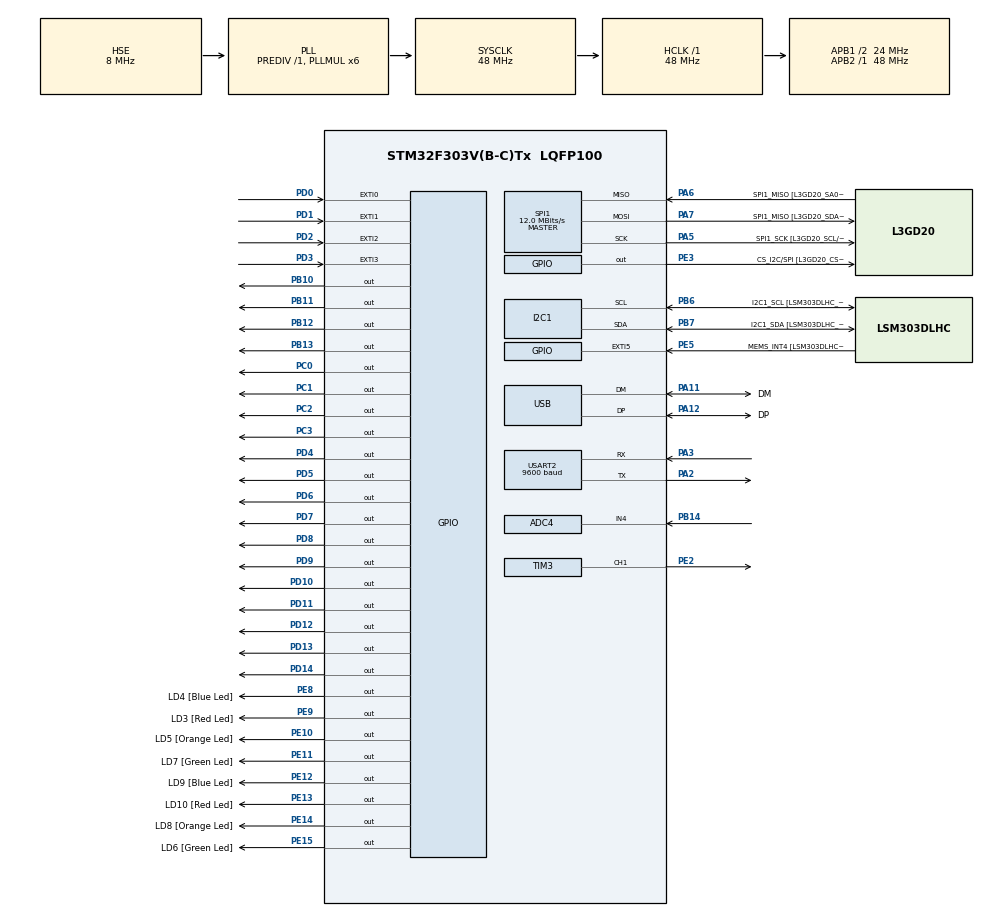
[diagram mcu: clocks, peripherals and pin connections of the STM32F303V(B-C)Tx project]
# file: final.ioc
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ADC4.Channel-0\#ChannelRegularConversion=ADC_CHANNEL_4
ADC4.NbrOfConversionFlag=1
ADC4.Offset-0\#ChannelRegularConversion=0
ADC4.OffsetNumber-0\#ChannelRegularConversion=ADC_OFFSET_NONE
ADC4.Rank-0\#ChannelRegularConversion=1
ADC4.SamplingTime-0\#ChannelRegularConversion=ADC_SAMPLETIME_1CYCLE_5
ADC4.SamplingTimeOPAMP-0\#ChannelRegularConversion=ADC_SAMPLETIME_19CYCLES_5
I2C1.Timing-I2C=0x2000090E
Mcu.Family=STM32F3
Mcu.Name=STM32F303V(B-C)Tx
Mcu.Package=LQFP100
NVIC.ADC4_IRQn=true\:0\:0\:true\:false\:true\:true\:true
NVIC.EXTI0_IRQn=true\:1\:0\:true\:false\:true\:true\:true
NVIC.EXTI1_IRQn=true\:1\:0\:true\:false\:true\:true\:true
NVIC.EXTI2_TSC_IRQn=true\:1\:0\:true\:false\:true\:true\:true
NVIC.EXTI3_IRQn=true\:1\:0\:true\:false\:true\:true\:true
NVIC.PriorityGroup=NVIC_PRIORITYGROUP_2
NVIC.TIM2_IRQn=true\:2\:0\:true\:false\:true\:true\:true
NVIC.TIM3_IRQn=true\:2\:0\:true\:false\:true\:true\:true
NVIC.TIM6_DAC_IRQn=true\:1\:0\:true\:false\:true\:true\:true
NVIC.TIM7_IRQn=true\:1\:0\:true\:false\:true\:true\:true
NVIC.USART2_IRQn=true\:1\:0\:true\:false\:true\:true\:true
PA11.GPIO_Label=DM
PA11.Mode=Device
PA11.Signal=USB_DM
PA12.GPIO_Label=DP
PA12.Mode=Device
PA12.Signal=USB_DP
PA13.GPIO_Label=SWDIO
PA13.Mode=Serial_Wire
PA13.Signal=SYS_JTMS-SWDIO
PA14.GPIO_Label=SWCLK
PA14.Mode=Serial_Wire
PA14.Signal=SYS_JTCK-SWCLK
PA2.Mode=Asynchronous
PA2.Signal=USART2_TX
PA3.Mode=Asynchronous
PA3.Signal=USART2_RX
PA5.GPIO_Label=SPI1_SCK [L3GD20_SCL/SPC]
PA5.Mode=Full_Duplex_Master
PA5.Signal=SPI1_SCK
PA6.GPIO_Label=SPI1_MISO [L3GD20_SA0/SDO]
PA6.Mode=Full_Duplex_Master
PA6.Signal=SPI1_MISO
PA7.GPIO_Label=SPI1_MISO [L3GD20_SDA/SDI/SDO]
PA7.Mode=Full_Duplex_Master
PA7.Signal=SPI1_MOSI
PB10.Signal=GPIO_Output
PB11.Signal=GPIO_Output
PB12.Signal=GPIO_Output
PB13.Signal=GPIO_Output
PB14.Mode=IN4-Single-Ended
PB14.Signal=ADC4_IN4
PB3.GPIO_Label=SWO
PB3.Signal=SYS_JTDO-TRACESWO
PB6.GPIO_Label=I2C1_SCL [LSM303DLHC_SCL]
PB6.GPIO_Pu=GPIO_PULLUP
PB6.Mode=I2C
PB6.Signal=I2C1_SCL
PB7.GPIO_Label=I2C1_SDA [LSM303DLHC_SDA]
PB7.GPIO_Pu=GPIO_PULLUP
PB7.Mode=I2C
PB7.Signal=I2C1_SDA
PC0.Signal=GPIO_Output
PC1.Signal=GPIO_Output
PC14-OSC32_IN.GPIO_Label=OSC32_IN
PC14-OSC32_IN.Signal=RCC_OSC32_IN
PC15-OSC32_OUT.GPIO_Label=OSC32_OUT
PC15-OSC32_OUT.Signal=RCC_OSC32_OUT
PC2.Signal=GPIO_Output
PC3.Signal=GPIO_Output
PD0.GPIO_PuPd=GPIO_PULLDOWN
PD0.Signal=GPXTI0
PD1.GPIO_PuPd=GPIO_PULLDOWN
PD1.Signal=GPXTI1
PD10.Signal=GPIO_Output
PD11.Signal=GPIO_Output
PD12.Signal=GPIO_Output
PD13.Signal=GPIO_Output
PD14.Signal=GPIO_Output
PD2.GPIO_PuPd=GPIO_PULLDOWN
PD2.Signal=GPXTI2
PD3.GPIO_PuPd=GPIO_PULLDOWN
PD3.Signal=GPXTI3
PD4.Signal=GPIO_Output
PD5.Signal=GPIO_Output
PD6.Signal=GPIO_Output
PD7.Signal=GPIO_Output
PD8.Signal=GPIO_Output
PD9.Signal=GPIO_Output
PE10.GPIO_Label=LD5 [Orange Led]
PE10.Signal=GPIO_Output
PE11.GPIO_Label=LD7 [Green Led]
PE11.Signal=GPIO_Output
PE12.GPIO_Label=LD9 [Blue Led]
PE12.Signal=GPIO_Output
PE13.GPIO_Label=LD10 [Red Led]
PE13.Signal=GPIO_Output
PE14.GPIO_Label=LD8 [Orange Led]
PE14.Signal=GPIO_Output
PE15.GPIO_Label=LD6 [Green Led]
PE15.Signal=GPIO_Output
PE2.Signal=S_TIM3_CH1
PE3.GPIO_Label=CS_I2C/SPI [L3GD20_CS_I2C/SPI]
PE3.Signal=GPIO_Output
PE5.GPIO_Label=MEMS_INT4 [LSM303DLHC_INT2]
PE5.GPIO_ModeDefaultEXTI=GPIO_MODE_EVT_RISING
PE5.Signal=GPXTI5
PE8.GPIO_Label=LD4 [Blue Led]
PE8.Signal=GPIO_Output
PE9.GPIO_Label=LD3 [Red Led]
PE9.Signal=GPIO_Output
PF0-OSC_IN.GPIO_Label=OSC_IN
PF0-OSC_IN.Mode=HSE-External-Clock-Source
PF0-OSC_IN.Signal=RCC_OSC_IN
PF1-OSC_OUT.GPIO_Label=OSC_OUT
PF1-OSC_OUT.Signal=RCC_OSC_OUT
ProjectManager.HeapSize=0x200
ProjectManager.StackSize=0x400
ProjectManager.TargetToolchain=STM32CubeIDE
RCC.AHBFreq_Value=48000000
RCC.APB1CLKDivider=RCC_HCLK_DIV2
RCC.APB1Freq_Value=24000000
RCC.APB1TimFreq_Value=48000000
RCC.APB2Freq_Value=48000000
RCC.APB2TimFreq_Value=48000000
RCC.CortexFreq_Value=48000000
RCC.HCLKFreq_Value=48000000
RCC.HSE_VALUE=8000000
RCC.HSI_VALUE=8000000
RCC.LSE_VALUE=32768
RCC.PLLMUL=RCC_PLL_MUL6
RCC.SYSCLKFreq_VALUE=48000000
RCC.SYSCLKSourceVirtual=RCC_SYSCLKSOURCE_PLLCLK
RCC.USBFreq_Value=48000000
RTC.AsynchPrediv=39
RTC.SynchPrediv=999
SH.S_TIM3_CH1.0=TIM3_CH1,PWM Generation1 CH1
SPI1.BaudRatePrescaler=SPI_BAUDRATEPRESCALER_4
SPI1.BaudRatePrescaler-Full_Duplex_Master=SPI_BAUDRATEPRESCALER_2
SPI1.CalculateBaudRate=12.0 MBits/s
SPI1.CalculateBaudRate-Full_Duplex_Master=24.0 MBits/s
SPI1.Direction=SPI_DIRECTION_2LINES
SPI1.Mode=SPI_MODE_MASTER
SPI1.Mode-Full_Duplex_Master=SPI_MODE_MASTER
SPI1.VirtualType=VM_MASTER
TIM2.Period=10000
TIM2.Prescaler=2399
TIM3.Channel-PWM\ Generation1\ CH1=TIM_CHANNEL_1
TIM3.Period=100
TIM3.Prescaler=72
TIM6.Period=10
TIM6.Prescaler=4799
TIM7.Period=20
TIM7.Prescaler=2399
USART2.BaudRate=9600
USART2.VirtualMode-Asynchronous=VM_ASYNC
VP_RTC_VS_RTC_Activate.Mode=RTC_Enabled
VP_RTC_VS_RTC_Calendar.Mode=RTC_Calendar
VP_TIM2_VS_ClockSourceINT.Mode=Internal
VP_TIM3_VS_ClockSourceINT.Mode=Internal
VP_TIM6_VS_ClockSourceINT.Mode=Enable_Timer
VP_TIM7_VS_ClockSourceINT.Mode=Enable_Timer
board=STM32F3DISCOVERY

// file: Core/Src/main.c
/* USER CODE BEGIN Header */
/**
  ******************************************************************************
  * @file           : main.c
  * @brief          : Main program body
  ******************************************************************************
  * @attention
  *
  * Copyright (c) 2022 STMicroelectronics.
  * All rights reserved.
  *
  * This software is licensed under terms that can be found in the LICENSE file
  * in the root directory of this software component.
  * If no LICENSE file comes with this software, it is provided AS-IS.
  *
  ******************************************************************************
  */
/* USER CODE END Header */
#include "main.h"

/* USER CODE BEGIN Includes */
#include "LiquidCrystal.h"
/* USER CODE END Includes */

ADC_HandleTypeDef hadc4;

I2C_HandleTypeDef hi2c1;

RTC_HandleTypeDef hrtc;

SPI_HandleTypeDef hspi1;

TIM_HandleTypeDef htim2;
TIM_HandleTypeDef htim3;
TIM_HandleTypeDef htim6;
TIM_HandleTypeDef htim7;

UART_HandleTypeDef huart2;

PCD_HandleTypeDef hpcd_USB_FS;

/* USER CODE BEGIN PV */

char menuState;

/* USER CODE END PV */

void SystemClock_Config(void);
static void MX_GPIO_Init(void);
static void MX_I2C1_Init(void);
static void MX_SPI1_Init(void);
static void MX_USB_PCD_Init(void);
static void MX_TIM2_Init(void);
static void MX_USART2_UART_Init(void);
static void MX_TIM7_Init(void);
static void MX_ADC4_Init(void);
static void MX_TIM3_Init(void);
static void MX_RTC_Init(void);
static void MX_TIM6_Init(void);

/* USER CODE BEGIN 0 */

};

byte step[] = {
  0x03,
  0x03,
  0x03,
  0x03,
  0x03,
  0x03,
  0x03,
  0x03
};

byte enemy[] = {
  0x0E,
  0x1F,
  0x15,
  0x1F,
  0x1F,
  0x1B,
  0x1F,
  0x15
};

byte spring_booster[] = {
  0x15,
  0x15,
  0x1D,
  0x15,
  0x15,
  0x17,
  0x15,
  0x15
};

byte blackhole[] = {
  0x1F,
  0x1F,
  0x1B,
  0x11,
  0x11,
  0x1B,
  0x1F,
  0x1F
};

byte broken_step[] = {
  0x03,
  0x03,
  0x03,
  0x01,
  0x02,
  0x03,
  0x03,
  0x03
};

void init_state_vars() {
    /*
     * menusState:
     * 	'z' init page
     * 	'g' game page
     * 	'a' about us
     * */
	menuState = 'z';
}

/* USER CODE END 0 */

int main(void)
{

  /* MCU Configuration--------------------------------------------------------*/

  /* Reset of all peripherals, Initializes the Flash interface and the Systick. */
  HAL_Init();

  /* USER CODE BEGIN Init */

  init_state_vars();
  HAL_GPIO_WritePin(GPIOD, GPIO_PIN_4, 1);
  HAL_GPIO_WritePin(GPIOD, GPIO_PIN_5, 1);
  HAL_GPIO_WritePin(GPIOD, GPIO_PIN_6, 1);
  HAL_GPIO_WritePin(GPIOD, GPIO_PIN_7, 1);
  LiquidCrystal(GPIOD, GPIO_PIN_8, GPIO_PIN_9, GPIO_PIN_10, GPIO_PIN_11, GPIO_PIN_12, GPIO_PIN_13, GPIO_PIN_14);
  begin(20, 4);

	createChar(0, doodler);
	createChar(1, step);
	createChar(2, enemy);
	createChar(3, spring_booster);
	createChar(4, blackhole);
	createChar(5, broken_step);

  /* USER CODE END Init */

  /* Configure the system clock */
  SystemClock_Config();

  /* Initialize all configured peripherals */
  MX_GPIO_Init();
  MX_I2C1_Init();
  MX_SPI1_Init();
  MX_USB_PCD_Init();
  MX_TIM2_Init();
  MX_USART2_UART_Init();
  MX_TIM7_Init();
  MX_ADC4_Init();
  MX_TIM3_Init();
  MX_RTC_Init();
  MX_TIM6_Init();
  /* USER CODE BEGIN 2 */

  HAL_ADC_Start_IT(&hadc4);
  //HAL_TIM_PWM_Init(&htim3, TIM_CHANNEL_1);

  HAL_TIM_PWM_Start(&htim3, TIM_CHANNEL_1);
  //htim3.Instance->CCR1 = 220;

  unsigned char hello[8] = "hello \n";
  HAL_UART_Transmit(&huart2, hello, sizeof(hello), 500);
  HAL_TIM_Base_Start_IT(&htim2);
  HAL_TIM_Base_Start_IT(&htim6);
  HAL_TIM_Base_Start_IT(&htim3);
  HAL_TIM_Base_Start_IT(&htim7);

  RTC_TimeTypeDef mytime;
  mytime.Hours = 8;
  mytime.Minutes = 50;
  mytime.Seconds = 10;

  HAL_RTC_SetTime(&hrtc, &mytime, RTC_FORMAT_BIN);

  RTC_DateTypeDef mydate;
  mydate.Year = 22;
  mydate.Month = 7;
  mydate.Date = 3;

  HAL_RTC_SetDate(&hrtc, &mydate, RTC_FORMAT_BIN);

  char timeStr[20] = {' '};
  char dateStr[20] = {' '};

//  HAL_RTC_GetTime(&hrtc, &mytime, RTC_FORMAT_BIN);
//  HAL_RTC_GetDate(&hrtc, &mydate, RTC_FORMAT_BIN);
//
//
//  sprintf(timeStr, "\n %2d:%2d:%2d \n", mytime.Hours, mytime.Minutes, mytime.Seconds);
//  sprintf(dateStr, "\n %d//%d//%d \n", mydate.Year, mydate.Month, mydate.Date);

  /* USER CODE END 2 */

  /* Infinite loop */
  /* USER CODE BEGIN WHILE */
  int i = 0;
  while (1)
  {

	  HAL_RTC_GetTime(&hrtc, &mytime, RTC_FORMAT_BIN);
	  HAL_RTC_GetDate(&hrtc, &mydate, RTC_FORMAT_BIN);

	  sprintf(timeStr, "\t\t %2d:%2d:%2d\n", mytime.Hours, mytime.Minutes, mytime.Seconds);
	  sprintf(dateStr, "\t\t %d//%d//%d\n", mydate.Year, mydate.Month, mydate.Date);

	  HAL_UART_Transmit(&huart2, dateStr, sizeof(dateStr), 1000);
	  HAL_UART_Transmit(&huart2, timeStr, sizeof(timeStr), 1000);

	  HAL_Delay(1000);

    /* USER CODE END WHILE */

    /* USER CODE BEGIN 3 */
//	  __HAL_TIM_SET_COMPARE(&htim3, TIM_CHANNEL_1, i);
	  HAL_Delay(100);

//	  i = (i+1) % 100;

//	  HAL_GPIO_TogglePin(GPIOE, GPIO_PIN_10);
//	  HAL_Delay(1);
  }
  /* USER CODE END 3 */
}

void SystemClock_Config(void)
{
  RCC_OscInitTypeDef RCC_OscInitStruct = {0};
  RCC_ClkInitTypeDef RCC_ClkInitStruct = {0};
  RCC_PeriphCLKInitTypeDef PeriphClkInit = {0};

  /** Initializes the RCC Oscillators according to the specified parameters
  * in the RCC_OscInitTypeDef structure.
  */
  RCC_OscInitStruct.OscillatorType = RCC_OSCILLATORTYPE_HSI|RCC_OSCILLATORTYPE_LSI
                              |RCC_OSCILLATORTYPE_HSE;
  RCC_OscInitStruct.HSEState = RCC_HSE_BYPASS;
  RCC_OscInitStruct.HSEPredivValue = RCC_HSE_PREDIV_DIV1;
  RCC_OscInitStruct.HSIState = RCC_HSI_ON;
  RCC_OscInitStruct.HSICalibrationValue = RCC_HSICALIBRATION_DEFAULT;
  RCC_OscInitStruct.LSIState = RCC_LSI_ON;
  RCC_OscInitStruct.PLL.PLLState = RCC_PLL_ON;
  RCC_OscInitStruct.PLL.PLLSource = RCC_PLLSOURCE_HSE;
  RCC_OscInitStruct.PLL.PLLMUL = RCC_PLL_MUL6;
  if (HAL_RCC_OscConfig(&RCC_OscInitStruct) != HAL_OK)
  {
    Error_Handler();
  }
  /** Initializes the CPU, AHB and APB buses clocks
  */
  RCC_ClkInitStruct.ClockType = RCC_CLOCKTYPE_HCLK|RCC_CLOCKTYPE_SYSCLK
                              |RCC_CLOCKTYPE_PCLK1|RCC_CLOCKTYPE_PCLK2;
  RCC_ClkInitStruct.SYSCLKSource = RCC_SYSCLKSOURCE_PLLCLK;
  RCC_ClkInitStruct.AHBCLKDivider = RCC_SYSCLK_DIV1;
  RCC_ClkInitStruct.APB1CLKDivider = RCC_HCLK_DIV2;
  RCC_ClkInitStruct.APB2CLKDivider = RCC_HCLK_DIV1;

  if (HAL_RCC_ClockConfig(&RCC_ClkInitStruct, FLASH_LATENCY_1) != HAL_OK)
  {
    Error_Handler();
  }
  PeriphClkInit.PeriphClockSelection = RCC_PERIPHCLK_USB|RCC_PERIPHCLK_USART2
                              |RCC_PERIPHCLK_I2C1|RCC_PERIPHCLK_RTC
                              |RCC_PERIPHCLK_ADC34;
  PeriphClkInit.Usart2ClockSelection = RCC_USART2CLKSOURCE_PCLK1;
  PeriphClkInit.Adc34ClockSelection = RCC_ADC34PLLCLK_DIV1;
  PeriphClkInit.I2c1ClockSelection = RCC_I2C1CLKSOURCE_HSI;
  PeriphClkInit.RTCClockSelection = RCC_RTCCLKSOURCE_LSI;
  PeriphClkInit.USBClockSelection = RCC_USBCLKSOURCE_PLL;
  if (HAL_RCCEx_PeriphCLKConfig(&PeriphClkInit) != HAL_OK)
  {
    Error_Handler();
  }
}

static void MX_ADC4_Init(void)
{

  ADC_ChannelConfTypeDef sConfig = {0};

  /** Common config
  */
  hadc4.Instance = ADC4;
  hadc4.Init.ClockPrescaler = ADC_CLOCK_ASYNC_DIV1;
  hadc4.Init.Resolution = ADC_RESOLUTION_12B;
  hadc4.Init.ScanConvMode = ADC_SCAN_DISABLE;
  hadc4.Init.ContinuousConvMode = DISABLE;
  hadc4.Init.DiscontinuousConvMode = DISABLE;
  hadc4.Init.ExternalTrigConvEdge = ADC_EXTERNALTRIGCONVEDGE_NONE;
  hadc4.Init.ExternalTrigConv = ADC_SOFTWARE_START;
  hadc4.Init.DataAlign = ADC_DATAALIGN_RIGHT;
  hadc4.Init.NbrOfConversion = 1;
  hadc4.Init.DMAContinuousRequests = DISABLE;
  hadc4.Init.EOCSelection = ADC_EOC_SINGLE_CONV;
  hadc4.Init.LowPowerAutoWait = DISABLE;
  hadc4.Init.Overrun = ADC_OVR_DATA_OVERWRITTEN;
  if (HAL_ADC_Init(&hadc4) != HAL_OK)
  {
    Error_Handler();
  }
  /** Configure Regular Channel
  */
  sConfig.Channel = ADC_CHANNEL_4;
  sConfig.Rank = ADC_REGULAR_RANK_1;
  sConfig.SingleDiff = ADC_SINGLE_ENDED;
  sConfig.SamplingTime = ADC_SAMPLETIME_1CYCLE_5;
  sConfig.OffsetNumber = ADC_OFFSET_NONE;
  sConfig.Offset = 0;
  if (HAL_ADC_ConfigChannel(&hadc4, &sConfig) != HAL_OK)
  {
    Error_Handler();
  }

}

static void MX_I2C1_Init(void)
{

  hi2c1.Instance = I2C1;
  hi2c1.Init.Timing = 0x2000090E;
  hi2c1.Init.OwnAddress1 = 0;
  hi2c1.Init.AddressingMode = I2C_ADDRESSINGMODE_7BIT;
  hi2c1.Init.DualAddressMode = I2C_DUALADDRESS_DISABLE;
  hi2c1.Init.OwnAddress2 = 0;
  hi2c1.Init.OwnAddress2Masks = I2C_OA2_NOMASK;
  hi2c1.Init.GeneralCallMode = I2C_GENERALCALL_DISABLE;
  hi2c1.Init.NoStretchMode = I2C_NOSTRETCH_DISABLE;
  if (HAL_I2C_Init(&hi2c1) != HAL_OK)
  {
    Error_Handler();
  }
  /** Configure Analogue filter
  */
  if (HAL_I2CEx_ConfigAnalogFilter(&hi2c1, I2C_ANALOGFILTER_ENABLE) != HAL_OK)
  {
    Error_Handler();
  }
  /** Configure Digital filter
  */
  if (HAL_I2CEx_ConfigDigitalFilter(&hi2c1, 0) != HAL_OK)
  {
    Error_Handler();
  }

}

static void MX_RTC_Init(void)
{

  RTC_TimeTypeDef sTime = {0};
  RTC_DateTypeDef sDate = {0};

  /** Initialize RTC Only
  */
  hrtc.Instance = RTC;
  hrtc.Init.HourFormat = RTC_HOURFORMAT_24;
  hrtc.Init.AsynchPrediv = 39;
  hrtc.Init.SynchPrediv = 999;
  hrtc.Init.OutPut = RTC_OUTPUT_DISABLE;
  hrtc.Init.OutPutPolarity = RTC_OUTPUT_POLARITY_HIGH;
  hrtc.Init.OutPutType = RTC_OUTPUT_TYPE_OPENDRAIN;
  if (HAL_RTC_Init(&hrtc) != HAL_OK)
  {
    Error_Handler();
  }

  /** Initialize RTC and set the Time and Date
  */
  sTime.Hours = 0x0;
  sTime.Minutes = 0x0;
  sTime.Seconds = 0x0;
  sTime.DayLightSaving = RTC_DAYLIGHTSAVING_NONE;
  sTime.StoreOperation = RTC_STOREOPERATION_RESET;
  if (HAL_RTC_SetTime(&hrtc, &sTime, RTC_FORMAT_BCD) != HAL_OK)
  {
    Error_Handler();
  }
  sDate.WeekDay = RTC_WEEKDAY_MONDAY;
  sDate.Month = RTC_MONTH_JANUARY;
  sDate.Date = 0x1;
  sDate.Year = 0x0;

  if (HAL_RTC_SetDate(&hrtc, &sDate, RTC_FORMAT_BCD) != HAL_OK)
  {
    Error_Handler();
  }

}

static void MX_SPI1_Init(void)
{

  /* SPI1 parameter configuration*/
  hspi1.Instance = SPI1;
  hspi1.Init.Mode = SPI_MODE_MASTER;
  hspi1.Init.Direction = SPI_DIRECTION_2LINES;
  hspi1.Init.DataSize = SPI_DATASIZE_4BIT;
  hspi1.Init.CLKPolarity = SPI_POLARITY_LOW;
  hspi1.Init.CLKPhase = SPI_PHASE_1EDGE;
  hspi1.Init.NSS = SPI_NSS_SOFT;
  hspi1.Init.BaudRatePrescaler = SPI_BAUDRATEPRESCALER_4;
  hspi1.Init.FirstBit = SPI_FIRSTBIT_MSB;
  hspi1.Init.TIMode = SPI_TIMODE_DISABLE;
  hspi1.Init.CRCCalculation = SPI_CRCCALCULATION_DISABLE;
  hspi1.Init.CRCPolynomial = 7;
  hspi1.Init.CRCLength = SPI_CRC_LENGTH_DATASIZE;
  hspi1.Init.NSSPMode = SPI_NSS_PULSE_ENABLE;
  if (HAL_SPI_Init(&hspi1) != HAL_OK)
  {
    Error_Handler();
  }

}

static void MX_TIM2_Init(void)
{

  TIM_ClockConfigTypeDef sClockSourceConfig = {0};
  TIM_MasterConfigTypeDef sMasterConfig = {0};

  htim2.Instance = TIM2;
  htim2.Init.Prescaler = 2399;
  htim2.Init.CounterMode = TIM_COUNTERMODE_UP;
  htim2.Init.Period = 10000;
  htim2.Init.ClockDivision = TIM_CLOCKDIVISION_DIV1;
  htim2.Init.AutoReloadPreload = TIM_AUTORELOAD_PRELOAD_DISABLE;
  if (HAL_TIM_Base_Init(&htim2) != HAL_OK)
  {
    Error_Handler();
  }
  sClockSourceConfig.ClockSource = TIM_CLOCKSOURCE_INTERNAL;
  if (HAL_TIM_ConfigClockSource(&htim2, &sClockSourceConfig) != HAL_OK)
  {
    Error_Handler();
  }
  sMasterConfig.MasterOutputTrigger = TIM_TRGO_RESET;
  sMasterConfig.MasterSlaveMode = TIM_MASTERSLAVEMODE_DISABLE;
  if (HAL_TIMEx_MasterConfigSynchronization(&htim2, &sMasterConfig) != HAL_OK)
  {
    Error_Handler();
  }

}

static void MX_TIM3_Init(void)
{

  TIM_ClockConfigTypeDef sClockSourceConfig = {0};
  TIM_MasterConfigTypeDef sMasterConfig = {0};
  TIM_OC_InitTypeDef sConfigOC = {0};

  htim3.Instance = TIM3;
  htim3.Init.Prescaler = 72;
  htim3.Init.CounterMode = TIM_COUNTERMODE_UP;
  htim3.Init.Period = 100;
  htim3.Init.ClockDivision = TIM_CLOCKDIVISION_DIV1;
  htim3.Init.AutoReloadPreload = TIM_AUTORELOAD_PRELOAD_DISABLE;
  if (HAL_TIM_Base_Init(&htim3) != HAL_OK)
  {
    Error_Handler();
  }
  sClockSourceConfig.ClockSource = TIM_CLOCKSOURCE_INTERNAL;
  if (HAL_TIM_ConfigClockSource(&htim3, &sClockSourceConfig) != HAL_OK)
  {
    Error_Handler();
  }
  if (HAL_TIM_PWM_Init(&htim3) != HAL_OK)
  {
    Error_Handler();
  }
  sMasterConfig.MasterOutputTrigger = TIM_TRGO_RESET;
  sMasterConfig.MasterSlaveMode = TIM_MASTERSLAVEMODE_DISABLE;
  if (HAL_TIMEx_MasterConfigSynchronization(&htim3, &sMasterConfig) != HAL_OK)
  {
    Error_Handler();
  }
  sConfigOC.OCMode = TIM_OCMODE_PWM1;
  sConfigOC.Pulse = 0;
  sConfigOC.OCPolarity = TIM_OCPOLARITY_HIGH;
  sConfigOC.OCFastMode = TIM_OCFAST_DISABLE;
  if (HAL_TIM_PWM_ConfigChannel(&htim3, &sConfigOC, TIM_CHANNEL_1) != HAL_OK)
  {
    Error_Handler();
  }
  HAL_TIM_MspPostInit(&htim3);

}

static void MX_TIM6_Init(void)
{

  TIM_MasterConfigTypeDef sMasterConfig = {0};

  htim6.Instance = TIM6;
  htim6.Init.Prescaler = 4799;
  htim6.Init.CounterMode = TIM_COUNTERMODE_UP;
  htim6.Init.Period = 10;
  htim6.Init.AutoReloadPreload = TIM_AUTORELOAD_PRELOAD_DISABLE;
  if (HAL_TIM_Base_Init(&htim6) != HAL_OK)
  {
    Error_Handler();
  }
  sMasterConfig.MasterOutputTrigger = TIM_TRGO_RESET;
  sMasterConfig.MasterSlaveMode = TIM_MASTERSLAVEMODE_DISABLE;
  if (HAL_TIMEx_MasterConfigSynchronization(&htim6, &sMasterConfig) != HAL_OK)
  {
    Error_Handler();
  }

}

static void MX_TIM7_Init(void)
{

  TIM_MasterConfigTypeDef sMasterConfig = {0};

  htim7.Instance = TIM7;
  htim7.Init.Prescaler = 2399;
  htim7.Init.CounterMode = TIM_COUNTERMODE_UP;
  htim7.Init.Period = 20;
  htim7.Init.AutoReloadPreload = TIM_AUTORELOAD_PRELOAD_DISABLE;
  if (HAL_TIM_Base_Init(&htim7) != HAL_OK)
  {
    Error_Handler();
  }
  sMasterConfig.MasterOutputTrigger = TIM_TRGO_RESET;
  sMasterConfig.MasterSlaveMode = TIM_MASTERSLAVEMODE_DISABLE;
  if (HAL_TIMEx_MasterConfigSynchronization(&htim7, &sMasterConfig) != HAL_OK)
  {
    Error_Handler();
  }

}

static void MX_USART2_UART_Init(void)
{

  huart2.Instance = USART2;
  huart2.Init.BaudRate = 9600;
  huart2.Init.WordLength = UART_WORDLENGTH_8B;
  huart2.Init.StopBits = UART_STOPBITS_1;
  huart2.Init.Parity = UART_PARITY_NONE;
  huart2.Init.Mode = UART_MODE_TX_RX;
  huart2.Init.HwFlowCtl = UART_HWCONTROL_NONE;
  huart2.Init.OverSampling = UART_OVERSAMPLING_16;
  huart2.Init.OneBitSampling = UART_ONE_BIT_SAMPLE_DISABLE;
  huart2.AdvancedInit.AdvFeatureInit = UART_ADVFEATURE_NO_INIT;
  if (HAL_UART_Init(&huart2) != HAL_OK)
  {
    Error_Handler();
  }

}

static void MX_USB_PCD_Init(void)
{

  hpcd_USB_FS.Instance = USB;
  hpcd_USB_FS.Init.dev_endpoints = 8;
  hpcd_USB_FS.Init.speed = PCD_SPEED_FULL;
  hpcd_USB_FS.Init.phy_itface = PCD_PHY_EMBEDDED;
  hpcd_USB_FS.Init.low_power_enable = DISABLE;
  hpcd_USB_FS.Init.battery_charging_enable = DISABLE;
  if (HAL_PCD_Init(&hpcd_USB_FS) != HAL_OK)
  {
    Error_Handler();
  }

}

static void MX_GPIO_Init(void)
{
  GPIO_InitTypeDef GPIO_InitStruct = {0};

  /* GPIO Ports Clock Enable */
  __HAL_RCC_GPIOE_CLK_ENABLE();
  __HAL_RCC_GPIOC_CLK_ENABLE();
  __HAL_RCC_GPIOF_CLK_ENABLE();
  __HAL_RCC_GPIOA_CLK_ENABLE();
  __HAL_RCC_GPIOB_CLK_ENABLE();
  __HAL_RCC_GPIOD_CLK_ENABLE();

  /*Configure GPIO pin Output Level */
  HAL_GPIO_WritePin(GPIOE, CS_I2C_SPI_Pin|LD4_Pin|LD3_Pin|LD5_Pin
                          |LD7_Pin|LD9_Pin|LD10_Pin|LD8_Pin
                          |LD6_Pin, GPIO_PIN_RESET);

  /*Configure GPIO pin Output Level */
  HAL_GPIO_WritePin(GPIOC, GPIO_PIN_0|GPIO_PIN_1|GPIO_PIN_2|GPIO_PIN_3, GPIO_PIN_RESET);

  /*Configure GPIO pin Output Level */
  HAL_GPIO_WritePin(GPIOB, GPIO_PIN_10|GPIO_PIN_11|GPIO_PIN_12|GPIO_PIN_13, GPIO_PIN_RESET);

  /*Configure GPIO pin Output Level */
  HAL_GPIO_WritePin(GPIOD, GPIO_PIN_8|GPIO_PIN_9|GPIO_PIN_10|GPIO_PIN_11
                          |GPIO_PIN_12|GPIO_PIN_13|GPIO_PIN_14|GPIO_PIN_4
                          |GPIO_PIN_5|GPIO_PIN_6|GPIO_PIN_7, GPIO_PIN_RESET);

  /*Configure GPIO pins : CS_I2C_SPI_Pin LD4_Pin LD3_Pin LD5_Pin
                           LD7_Pin LD9_Pin LD10_Pin LD8_Pin
                           LD6_Pin */
  GPIO_InitStruct.Pin = CS_I2C_SPI_Pin|LD4_Pin|LD3_Pin|LD5_Pin
                          |LD7_Pin|LD9_Pin|LD10_Pin|LD8_Pin
                          |LD6_Pin;
  GPIO_InitStruct.Mode = GPIO_MODE_OUTPUT_PP;
  GPIO_InitStruct.Pull = GPIO_NOPULL;
  GPIO_InitStruct.Speed = GPIO_SPEED_FREQ_LOW;
  HAL_GPIO_Init(GPIOE, &GPIO_InitStruct);

  /*Configure GPIO pin : MEMS_INT4_Pin */
  GPIO_InitStruct.Pin = MEMS_INT4_Pin;
  GPIO_InitStruct.Mode = GPIO_MODE_EVT_RISING;
  GPIO_InitStruct.Pull = GPIO_NOPULL;
  HAL_GPIO_Init(MEMS_INT4_GPIO_Port, &GPIO_InitStruct);

  /*Configure GPIO pins : PC0 PC1 PC2 PC3 */
  GPIO_InitStruct.Pin = GPIO_PIN_0|GPIO_PIN_1|GPIO_PIN_2|GPIO_PIN_3;
  GPIO_InitStruct.Mode = GPIO_MODE_OUTPUT_PP;
  GPIO_InitStruct.Pull = GPIO_NOPULL;
  GPIO_InitStruct.Speed = GPIO_SPEED_FREQ_LOW;
  HAL_GPIO_Init(GPIOC, &GPIO_InitStruct);

  /*Configure GPIO pins : PB10 PB11 PB12 PB13 */
  GPIO_InitStruct.Pin = GPIO_PIN_10|GPIO_PIN_11|GPIO_PIN_12|GPIO_PIN_13;
  GPIO_InitStruct.Mode = GPIO_MODE_OUTPUT_PP;
  GPIO_InitStruct.Pull = GPIO_NOPULL;
  GPIO_InitStruct.Speed = GPIO_SPEED_FREQ_LOW;
  HAL_GPIO_Init(GPIOB, &GPIO_InitStruct);

  /*Configure GPIO pins : PD8 PD9 PD10 PD11
                           PD12 PD13 PD14 PD4
                           PD5 PD6 PD7 */
  GPIO_InitStruct.Pin = GPIO_PIN_8|GPIO_PIN_9|GPIO_PIN_10|GPIO_PIN_11
                          |GPIO_PIN_12|GPIO_PIN_13|GPIO_PIN_14|GPIO_PIN_4
                          |GPIO_PIN_5|GPIO_PIN_6|GPIO_PIN_7;
  GPIO_InitStruct.Mode = GPIO_MODE_OUTPUT_PP;
  GPIO_InitStruct.Pull = GPIO_NOPULL;
  GPIO_InitStruct.Speed = GPIO_SPEED_FREQ_LOW;
  HAL_GPIO_Init(GPIOD, &GPIO_InitStruct);

  /*Configure GPIO pins : PD0 PD1 PD2 PD3 */
  GPIO_InitStruct.Pin = GPIO_PIN_0|GPIO_PIN_1|GPIO_PIN_2|GPIO_PIN_3;
  GPIO_InitStruct.Mode = GPIO_MODE_IT_RISING;
  GPIO_InitStruct.Pull = GPIO_PULLDOWN;
  HAL_GPIO_Init(GPIOD, &GPIO_InitStruct);

  /* EXTI interrupt init*/
  HAL_NVIC_SetPriority(EXTI0_IRQn, 1, 0);
  HAL_NVIC_EnableIRQ(EXTI0_IRQn);

  HAL_NVIC_SetPriority(EXTI1_IRQn, 1, 0);
  HAL_NVIC_EnableIRQ(EXTI1_IRQn);

  HAL_NVIC_SetPriority(EXTI2_TSC_IRQn, 1, 0);
  HAL_NVIC_EnableIRQ(EXTI2_TSC_IRQn);

  HAL_NVIC_SetPriority(EXTI3_IRQn, 1, 0);
  HAL_NVIC_EnableIRQ(EXTI3_IRQn);

}

void Error_Handler(void)
{
  __disable_irq();
  while (1)
  {
  }
}
